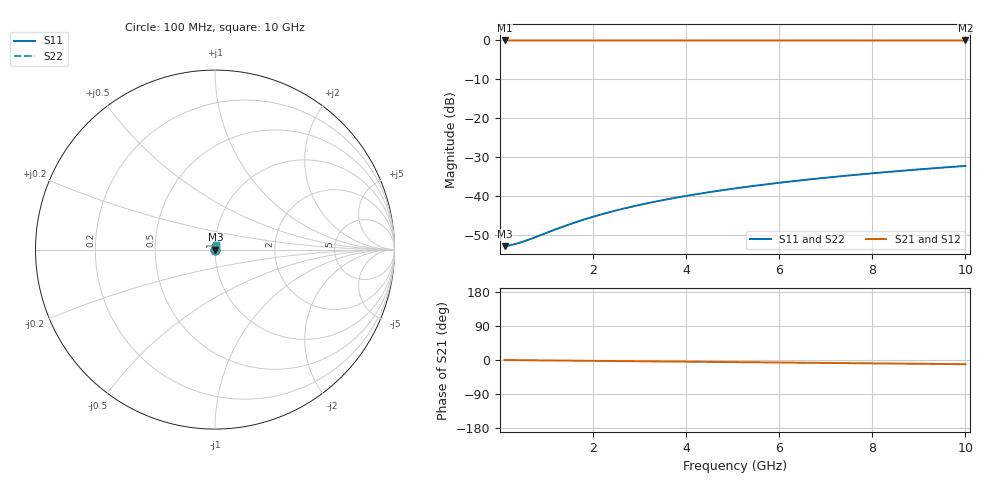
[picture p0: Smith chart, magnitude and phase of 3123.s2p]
# Hz S RI R 50.00
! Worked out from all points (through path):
!   100 points, 100 MHz to 10 GHz, reference 50 ohm
!   highest |S21| = -0.02 dB at 100 MHz (marker M1); lowest = 0.0 dB at 10 GHz (marker M2)
!   group delay of S21, straight-line fit = 3.07 ps
!   lowest |S11| = -52.8 dB at 100 MHz (marker M3), VSWR 1.00, Z = 50.2 + j0.0243 ohm
!   |S11| at or under -10 dB: start of sweep to end of sweep
!   |S22| runs from -52.8 to -32.2 dB; largest |S21 - S12| = 0
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1e8  0.00228 0.000242  0.9977 -0.00192  0.9977 -0.00192  0.00228 0.000242
2e8  0.0023 0.000483  0.9977 -0.00385  0.9977 -0.00385  0.0023 0.000483
3e8  0.00231 0.000725  0.9977 -0.00577  0.9977 -0.00577  0.00231 0.000725
5e8  0.00233 0.00121  0.9976 -0.00962  0.9976 -0.00962  0.00233 0.00121
7e8  0.00236 0.00169  0.9976 -0.0135  0.9976 -0.0135  0.00236 0.00169
1.3e9  0.00244 0.00314  0.9973 -0.025  0.9973 -0.025  0.00244 0.00314
1.6e9  0.00249 0.00386  0.9971 -0.0308  0.9971 -0.0308  0.00249 0.00386
1.8e9  0.00253 0.00434  0.997 -0.0346  0.997 -0.0346  0.00253 0.00434
2.2e9  0.00261 0.0053  0.9967 -0.0423  0.9967 -0.0423  0.00261 0.0053
2.6e9  0.00271 0.00626  0.9963 -0.05  0.9963 -0.05  0.00271 0.00626
3e9  0.00282 0.00722  0.9959 -0.0577  0.9959 -0.0577  0.00282 0.00722
3.4e9  0.00295 0.00818  0.9954 -0.0654  0.9954 -0.0654  0.00295 0.00818
3.8e9  0.00309 0.00913  0.9948 -0.0731  0.9948 -0.0731  0.00309 0.00913
4.2e9  0.00325 0.0101  0.9942 -0.0807  0.9942 -0.0807  0.00325 0.0101
4.6e9  0.00342 0.011  0.9935 -0.0884  0.9935 -0.0884  0.00342 0.011
5.1e9  0.00366 0.0122  0.9926 -0.098  0.9926 -0.098  0.00366 0.0122
5.9e9  0.00408 0.0141  0.9909 -0.1133  0.9909 -0.1133  0.00408 0.0141
6.7e9  0.00456 0.016  0.989 -0.1286  0.989 -0.1286  0.00456 0.016
7.5e9  0.0051 0.0178  0.9868 -0.1438  0.9868 -0.1438  0.0051 0.0178
8.4e9  0.00577 0.0199  0.9841 -0.1609  0.9841 -0.1609  0.00577 0.0199
9.2e9  0.00643 0.0217  0.9814 -0.1761  0.9814 -0.1761  0.00643 0.0217
1e10  0.00714 0.0235  0.9785 -0.1912  0.9785 -0.1912  0.00714 0.0235
